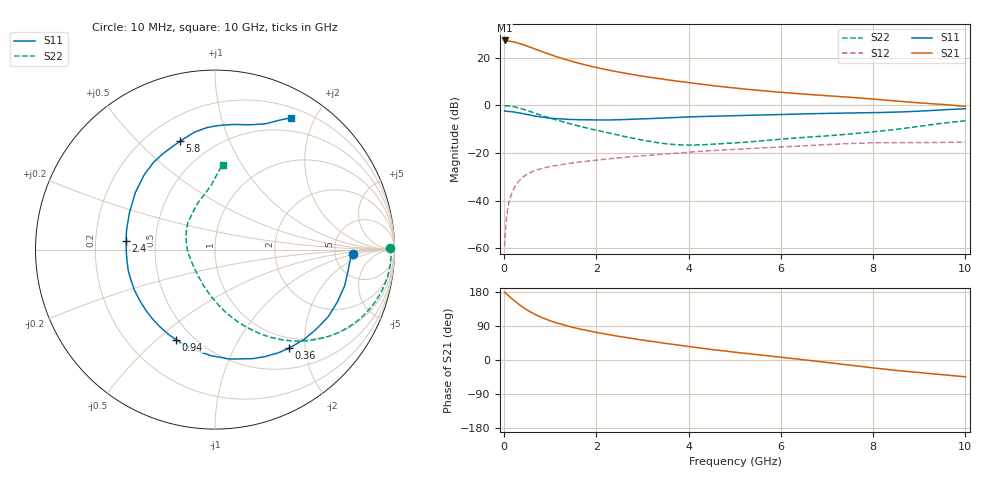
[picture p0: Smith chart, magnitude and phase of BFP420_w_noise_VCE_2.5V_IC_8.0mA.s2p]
! Infineon Technologies  Discrete & RF Semiconductors
! BFP420
! VCE =  2.5 V,  IC =  8.0 mA
! Common Emitter S-Parameters:  Jan 2016
# GHz  S  MA  R  50
!  f  S11  S21  S12  S22
! GHz  MAG  ANG  MAG  ANG  MAG  ANG  MAG  ANG
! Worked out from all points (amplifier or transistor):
!   233 points, 10 MHz to 10 GHz, reference 50 ohm
!   highest |S21| = 27.3 dB at 10 MHz (marker M1)
!   |S21| within 3 dB of that: start of sweep to 588.8 MHz
!   unconditionally stable (mu >= 1): 2.555 GHz to end of sweep
!   at 200 MHz: K = 0.11, MSG = 31.0 dB, |S12| = -35.3 dB
!   at 1.74 GHz: K = 0.76, MSG = 20.4 dB, |S12| = -23.6 dB
!   at 10 GHz: K = 1.10, MAG = 5.6 dB, |S12| = -15.4 dB
!   lowest NFmin = 0.79 dB at 900 MHz
!   S11 on the Smith chart (normalised r, x): 10 MHz: 7.45, -0.92; 360 MHz: 0.82, -1.69; 940 MHz: 0.40, -0.58; 2.4 GHz: 0.34, +0.04; 5.8 GHz: 0.33, +0.67; 10 GHz: 0.32, +1.69
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0.01  0.7666 -1.9  23.17 179.0  0.0011 77.6  0.9753 0.6
0.02  0.757 -3.2  22.61 177.7  0.0017 85.4  0.9818 -1.7
0.1  0.7499 -15.6  22.49 168.9  0.0087 83.2  0.9738 -8.9
0.2  0.7334 -30.6  21.67 158.4  0.0171 75.2  0.9419 -17.6
0.3  0.7047 -45.1  20.48 148.5  0.0244 69.0  0.8951 -25.5
0.36  0.6859 -53.2  19.66 143.2  0.0283 65.4  0.862 -29.9
0.46  0.655 -65.9  18.23 134.8  0.034 60.3  0.8047 -36.5
0.6  0.6158 -82.1  16.26 124.6  0.0403 54.6  0.725 -44.5
0.7  0.5911 -92.4  14.94 118.3  0.0439 51.2  0.6718 -49.4
0.8  0.5699 -101.6  13.73 112.8  0.047 48.7  0.6234 -53.6
0.94  0.5464 -113.4  12.27 106.1  0.0507 45.7  0.5635 -58.9
1.1  0.5287 -125.3  10.84 99.2  0.0543 43.2  0.505 -64.2
1.28  0.5141 -136.7  9.535 92.7  0.058 41.1  0.4494 -69.6
1.68  0.4991 -157.5  7.426 80.8  0.0652 37.9  0.3561 -80.0
2.4  0.4974 174.6  5.197 64.1  0.0776 33.8  0.246 -98.1
3.4  0.5389 146.6  3.602 45.7  0.0942 28.2  0.1609 -131.9
4  0.5737 133.5  3.006 35.4  0.1043 24.5  0.1467 -158.1
5.1  0.6105 117.1  2.261 19.3  0.1208 17.0  0.1651 165.3
5.8  0.6339 107.9  1.956 10.0  0.1307 12.4  0.1872 148.5
6.8  0.6735 96.2  1.648 -3.7  0.1467 4.8  0.2222 129.3
8.4  0.7182 75.6  1.258 -26.2  0.1643 -11.0  0.3055 102.3
10  0.8494 59.9  0.953 -44.3  0.169 -22.0  0.4755 84.9
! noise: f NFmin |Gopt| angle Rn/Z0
0.9  0.79  0.08  30  0.13
1.8  1.14  0.06  171  0.12
2.4  1.24  0.1  160  0.13
3  1.32  0.17  -165  0.12
4  1.46  0.32  -132  0.14
5  1.85  0.39  -110  0.25
6  2.3  0.46  -95  0.37
